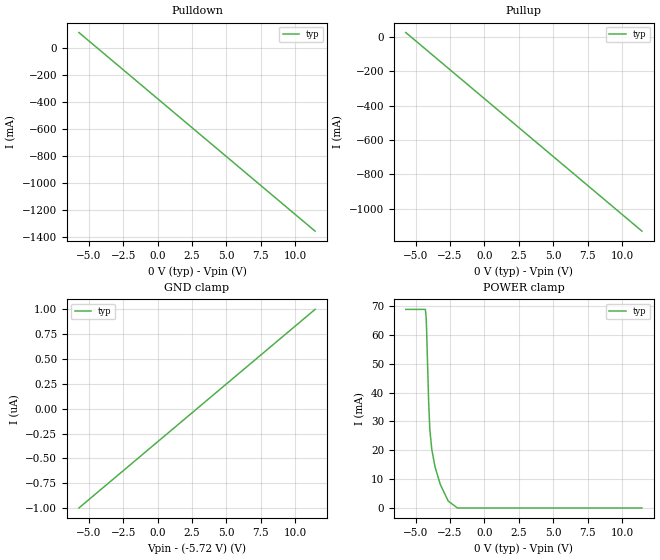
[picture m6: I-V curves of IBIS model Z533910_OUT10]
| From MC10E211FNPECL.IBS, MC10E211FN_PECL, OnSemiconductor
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| (C) COPYRIGHT 1993-2000
| MENTOR GRAPHICS CORPORATION
| ICX STANDARD LIBRARY, ICX PROJECT MODELING,
| ICX CUSTOM MODELING, ICX VENDOR MODEL
| ALL RIGHTS RESERVED.
| THE FOLLOWING ARE TRADEMARKS OR SERVICE MARKS OF
| MENTOR GRAPHICS CORPORATION:ICX (R), ICX STANDARD
| LIBRARY(R), ICX PROJECT MODELING(R), ICX CUSTOM
| MODELING(R), qualityIBIS(TM), MODELVIEWER(TM),
| AND MODELEDITOR(TM)
| ALL COPIES OF SOFTWARE, INCLUDING BUT NOT LIMITED TO
| ANY MODIFICATIONS, ENHANCEMENTS OR DERIVATIVE WORKS,
| MUST CONTAIN ALL MENTOR GRAPHICS CORPORATION'S
| NOTICES AND LEGENDS, INCLUDING THOSE EMBEDDED IN
| SOFTWARE AND THOSE AFFIXED TO SOFTWARE MEDIUM
| AND CONTAINER, AS RECEIVED FROM MENTOR GRAPHICS
| CORPORATION.
| Model Application Version 1.89 2/18/99.
[Model] Z533910_OUT10
Model_type Output_ECL
Vref=0.000V
Rref=500.0Mohms
Cref=50.00pF
Vmeas=3.620V
C_comp 8.000pF NA NA
| variable typ   min   max
[Voltage Range] -5.720V NA NA
[POWER Clamp Reference] 0.000V NA NA
[Pullup Reference] 0.000V NA NA
[Pulldown Reference] 0.000V NA NA
[GND Clamp Reference] -5.720V NA NA
[GND Clamp]
-5.72V    -1uA       NA         NA
11.44V    1uA        NA         NA
[Pulldown]
-5.72V    115.7mA    NA         NA
11.44V    -1.36A     NA         NA
[Pullup]
-5.72V    24.21mA    NA         NA
11.44V    -1.13A     NA         NA
[POWER Clamp]
-5.72V    68.8mA     NA         NA
-4.297V   68.8mA     NA         NA
-4.243V   66.46mA    NA         NA
-4.212V   62.71mA    NA         NA
-4.053V   36.22mA    NA         NA
-3.97V    27.13mA    NA         NA
-3.828V   20.27mA    NA         NA
-3.593V   14.23mA    NA         NA
-3.208V   8.12mA     NA         NA
-2.637V   2.419mA    NA         NA
-1.968V   0A         NA         NA
11.44V    0A         NA         NA
[Ramp]
| variable typ min max
dV/dt_r 550.8m/234.0p NA NA
dV/dt_f 550.8m/234.7p NA NA
R_load = 500.0Ohms
